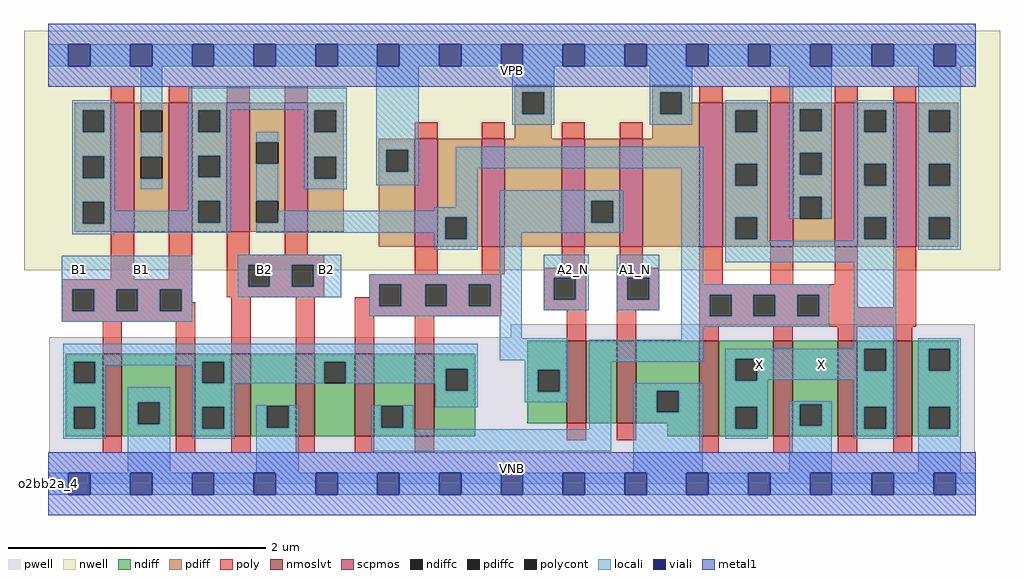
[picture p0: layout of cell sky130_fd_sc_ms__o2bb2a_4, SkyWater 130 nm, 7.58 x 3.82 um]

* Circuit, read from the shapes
.subckt sky130_fd_sc_ms__o2bb2a_4 A1_N A2_N B1 B2 VGND VNB VPB VPWR X
XM1 VGND B1 n1 VNB sky130_fd_pr__nfet_01v8_lvt w=0.64 l=0.15 m=2
XM2 VGND B2 n1 VNB sky130_fd_pr__nfet_01v8_lvt w=0.64 l=0.15 m=2
XM3 n2 n3 n1 VNB sky130_fd_pr__nfet_01v8_lvt w=0.64 l=0.15 m=2
XM4 n4 A2_N n3 VNB sky130_fd_pr__nfet_01v8_lvt w=0.64 l=0.15
XM5 VGND A1_N n4 VNB sky130_fd_pr__nfet_01v8_lvt w=0.64 l=0.15
XM6 X n2 VGND VNB sky130_fd_pr__nfet_01v8_lvt w=0.74 l=0.15 m=4
XM7 VPWR B1 n5 VPB sky130_fd_pr__pfet_01v8 w=1 l=0.18 m=2
XM8 n2 B2 n5 VPB sky130_fd_pr__pfet_01v8 w=1 l=0.18 m=2
XM9 n2 n3 VPWR VPB sky130_fd_pr__pfet_01v8 w=0.84 l=0.18 m=2
XM10 n3 A2_N VPWR VPB sky130_fd_pr__pfet_01v8 w=0.84 l=0.18
XM11 VPWR A1_N n3 VPB sky130_fd_pr__pfet_01v8 w=0.84 l=0.18
XM12 X n2 VPWR VPB sky130_fd_pr__pfet_01v8 w=1.12 l=0.18 m=4
.ends

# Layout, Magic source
magic
tech sky130A
magscale 1 2
<< nwell >>
rect -38 332 1478 704
<< pwell >>
rect 718 228 1439 248
rect 1 49 1439 228
rect 0 0 1440 49
<< scpmos >>
rect 97 392 133 592
rect 187 392 223 592
rect 277 392 313 592
rect 367 392 403 592
rect 569 368 605 536
rect 673 368 709 536
rect 797 368 833 536
rect 887 368 923 536
rect 1011 368 1047 592
rect 1121 368 1157 592
rect 1221 368 1257 592
rect 1312 368 1348 592
<< nmoslvt >>
rect 84 74 114 202
rect 198 74 228 202
rect 284 74 314 202
rect 384 74 414 202
rect 476 74 506 202
rect 569 74 599 202
rect 805 94 835 222
rect 883 94 913 222
rect 1011 74 1041 222
rect 1126 74 1156 222
rect 1226 74 1256 222
rect 1312 74 1342 222
<< ndiff >>
rect 27 190 84 202
rect 27 156 39 190
rect 73 156 84 190
rect 27 120 84 156
rect 27 86 39 120
rect 73 86 84 120
rect 27 74 84 86
rect 114 127 198 202
rect 114 93 139 127
rect 173 93 198 127
rect 114 74 198 93
rect 228 190 284 202
rect 228 156 239 190
rect 273 156 284 190
rect 228 120 284 156
rect 228 86 239 120
rect 273 86 284 120
rect 228 74 284 86
rect 314 121 384 202
rect 314 87 339 121
rect 373 87 384 121
rect 314 74 384 87
rect 414 190 476 202
rect 414 156 428 190
rect 462 156 476 190
rect 414 74 476 156
rect 506 121 569 202
rect 506 87 517 121
rect 551 87 569 121
rect 506 74 569 87
rect 599 179 663 202
rect 599 145 617 179
rect 651 145 663 179
rect 599 74 663 145
rect 744 177 805 222
rect 744 143 760 177
rect 794 143 805 177
rect 744 94 805 143
rect 835 94 883 222
rect 913 145 1011 222
rect 913 111 945 145
rect 979 111 1011 145
rect 913 94 1011 111
rect 961 74 1011 94
rect 1041 194 1126 222
rect 1041 160 1067 194
rect 1101 160 1126 194
rect 1041 120 1126 160
rect 1041 86 1067 120
rect 1101 86 1126 120
rect 1041 74 1126 86
rect 1156 124 1226 222
rect 1156 90 1167 124
rect 1201 90 1226 124
rect 1156 74 1226 90
rect 1256 210 1312 222
rect 1256 176 1267 210
rect 1301 176 1312 210
rect 1256 120 1312 176
rect 1256 86 1267 120
rect 1301 86 1312 120
rect 1256 74 1312 86
rect 1342 210 1413 222
rect 1342 176 1367 210
rect 1401 176 1413 210
rect 1342 120 1413 176
rect 1342 86 1367 120
rect 1401 86 1413 120
rect 1342 74 1413 86
<< pdiff >>
rect 724 608 782 620
rect 41 580 97 592
rect 41 546 53 580
rect 87 546 97 580
rect 41 509 97 546
rect 41 475 53 509
rect 87 475 97 509
rect 41 438 97 475
rect 41 404 53 438
rect 87 404 97 438
rect 41 392 97 404
rect 133 580 187 592
rect 133 546 143 580
rect 177 546 187 580
rect 133 508 187 546
rect 133 474 143 508
rect 177 474 187 508
rect 133 392 187 474
rect 223 580 277 592
rect 223 546 233 580
rect 267 546 277 580
rect 223 510 277 546
rect 223 476 233 510
rect 267 476 277 510
rect 223 440 277 476
rect 223 406 233 440
rect 267 406 277 440
rect 223 392 277 406
rect 313 531 367 592
rect 313 497 323 531
rect 357 497 367 531
rect 313 440 367 497
rect 313 406 323 440
rect 357 406 367 440
rect 313 392 367 406
rect 403 580 459 592
rect 403 546 413 580
rect 447 546 459 580
rect 724 574 736 608
rect 770 574 782 608
rect 403 508 459 546
rect 724 536 782 574
rect 938 608 996 620
rect 938 574 950 608
rect 984 592 996 608
rect 984 574 1011 592
rect 938 536 1011 574
rect 403 474 413 508
rect 447 474 459 508
rect 403 392 459 474
rect 513 519 569 536
rect 513 485 525 519
rect 559 485 569 519
rect 513 368 569 485
rect 605 414 673 536
rect 605 380 616 414
rect 650 380 673 414
rect 605 368 673 380
rect 709 368 797 536
rect 833 440 887 536
rect 833 406 843 440
rect 877 406 887 440
rect 833 368 887 406
rect 923 368 1011 536
rect 1047 580 1121 592
rect 1047 546 1067 580
rect 1101 546 1121 580
rect 1047 497 1121 546
rect 1047 463 1067 497
rect 1101 463 1121 497
rect 1047 414 1121 463
rect 1047 380 1067 414
rect 1101 380 1121 414
rect 1047 368 1121 380
rect 1157 582 1221 592
rect 1157 548 1167 582
rect 1201 548 1221 582
rect 1157 514 1221 548
rect 1157 480 1167 514
rect 1201 480 1221 514
rect 1157 446 1221 480
rect 1157 412 1167 446
rect 1201 412 1221 446
rect 1157 368 1221 412
rect 1257 580 1312 592
rect 1257 546 1267 580
rect 1301 546 1312 580
rect 1257 497 1312 546
rect 1257 463 1267 497
rect 1301 463 1312 497
rect 1257 414 1312 463
rect 1257 380 1267 414
rect 1301 380 1312 414
rect 1257 368 1312 380
rect 1348 580 1413 592
rect 1348 546 1367 580
rect 1401 546 1413 580
rect 1348 497 1413 546
rect 1348 463 1367 497
rect 1401 463 1413 497
rect 1348 414 1413 463
rect 1348 380 1367 414
rect 1401 380 1413 414
rect 1348 368 1413 380
<< ndiffc >>
rect 39 156 73 190
rect 39 86 73 120
rect 139 93 173 127
rect 239 156 273 190
rect 239 86 273 120
rect 339 87 373 121
rect 428 156 462 190
rect 517 87 551 121
rect 617 145 651 179
rect 760 143 794 177
rect 945 111 979 145
rect 1067 160 1101 194
rect 1067 86 1101 120
rect 1167 90 1201 124
rect 1267 176 1301 210
rect 1267 86 1301 120
rect 1367 176 1401 210
rect 1367 86 1401 120
<< pdiffc >>
rect 53 546 87 580
rect 53 475 87 509
rect 53 404 87 438
rect 143 546 177 580
rect 143 474 177 508
rect 233 546 267 580
rect 233 476 267 510
rect 233 406 267 440
rect 323 497 357 531
rect 323 406 357 440
rect 413 546 447 580
rect 736 574 770 608
rect 950 574 984 608
rect 413 474 447 508
rect 525 485 559 519
rect 616 380 650 414
rect 843 406 877 440
rect 1067 546 1101 580
rect 1067 463 1101 497
rect 1067 380 1101 414
rect 1167 548 1201 582
rect 1167 480 1201 514
rect 1167 412 1201 446
rect 1267 546 1301 580
rect 1267 463 1301 497
rect 1267 380 1301 414
rect 1367 546 1401 580
rect 1367 463 1401 497
rect 1367 380 1401 414
<< poly >>
rect 97 592 133 618
rect 187 592 223 618
rect 277 592 313 618
rect 367 592 403 618
rect 569 536 605 562
rect 673 536 709 562
rect 1011 592 1047 618
rect 1121 592 1157 618
rect 1221 592 1257 618
rect 1312 592 1348 618
rect 797 536 833 562
rect 887 536 923 562
rect 97 318 133 392
rect 187 318 223 392
rect 21 302 223 318
rect 21 268 37 302
rect 71 268 105 302
rect 139 268 173 302
rect 207 282 223 302
rect 277 356 313 392
rect 367 356 403 392
rect 277 340 428 356
rect 277 306 310 340
rect 344 306 378 340
rect 412 306 428 340
rect 569 326 605 368
rect 673 326 709 368
rect 797 336 833 368
rect 887 336 923 368
rect 277 290 428 306
rect 498 310 703 326
rect 498 290 514 310
rect 207 268 228 282
rect 21 252 228 268
rect 84 202 114 252
rect 198 202 228 252
rect 284 202 314 290
rect 384 202 414 290
rect 476 276 514 290
rect 548 276 585 310
rect 619 276 653 310
rect 687 276 703 310
rect 476 260 703 276
rect 769 320 835 336
rect 769 286 785 320
rect 819 286 835 320
rect 769 270 835 286
rect 476 202 506 260
rect 569 202 599 260
rect 805 222 835 270
rect 883 320 949 336
rect 883 286 899 320
rect 933 286 949 320
rect 883 270 949 286
rect 1011 310 1047 368
rect 1121 310 1157 368
rect 1221 310 1257 368
rect 1011 294 1257 310
rect 883 222 913 270
rect 1011 260 1027 294
rect 1061 260 1095 294
rect 1129 260 1163 294
rect 1197 274 1257 294
rect 1312 274 1348 368
rect 1197 260 1348 274
rect 1011 244 1348 260
rect 1011 222 1041 244
rect 1126 222 1156 244
rect 1226 222 1256 244
rect 1312 222 1342 244
rect 84 48 114 74
rect 198 48 228 74
rect 284 48 314 74
rect 384 48 414 74
rect 476 48 506 74
rect 569 48 599 74
rect 805 68 835 94
rect 883 68 913 94
rect 1011 48 1041 74
rect 1126 48 1156 74
rect 1226 48 1256 74
rect 1312 48 1342 74
<< polycont >>
rect 37 268 71 302
rect 105 268 139 302
rect 173 268 207 302
rect 310 306 344 340
rect 378 306 412 340
rect 514 276 548 310
rect 585 276 619 310
rect 653 276 687 310
rect 785 286 819 320
rect 899 286 933 320
rect 1027 260 1061 294
rect 1095 260 1129 294
rect 1163 260 1197 294
<< locali >>
rect 0 649 31 683
rect 65 649 127 683
rect 161 649 223 683
rect 257 649 319 683
rect 353 649 415 683
rect 449 649 511 683
rect 545 649 607 683
rect 641 649 703 683
rect 737 649 799 683
rect 833 649 895 683
rect 929 649 991 683
rect 1025 649 1087 683
rect 1121 649 1183 683
rect 1217 649 1279 683
rect 1313 649 1375 683
rect 1409 649 1440 683
rect 37 580 103 596
rect 37 546 53 580
rect 87 546 103 580
rect 37 509 103 546
rect 37 475 53 509
rect 87 475 103 509
rect 37 438 103 475
rect 143 580 177 649
rect 143 508 177 546
rect 143 458 177 474
rect 217 581 463 615
rect 217 580 283 581
rect 217 546 233 580
rect 267 546 283 580
rect 397 580 463 581
rect 217 510 283 546
rect 217 476 233 510
rect 267 476 283 510
rect 37 404 53 438
rect 87 424 103 438
rect 217 440 283 476
rect 217 424 233 440
rect 87 406 233 424
rect 267 406 283 440
rect 87 404 283 406
rect 37 390 283 404
rect 323 531 357 547
rect 323 440 357 497
rect 397 546 413 580
rect 447 546 463 580
rect 397 508 463 546
rect 397 474 413 508
rect 447 474 463 508
rect 397 458 463 474
rect 509 519 575 649
rect 720 608 786 649
rect 720 574 736 608
rect 770 574 786 608
rect 720 558 786 574
rect 934 608 1000 649
rect 934 574 950 608
rect 984 574 1000 608
rect 934 558 1000 574
rect 1051 580 1117 596
rect 1051 546 1067 580
rect 1101 546 1117 580
rect 509 485 525 519
rect 559 485 575 519
rect 509 464 575 485
rect 633 490 1017 524
rect 633 430 667 490
rect 599 424 667 430
rect 357 414 667 424
rect 357 406 616 414
rect 323 390 616 406
rect 37 388 103 390
rect 599 380 616 390
rect 650 380 667 414
rect 599 364 667 380
rect 701 440 893 456
rect 701 406 843 440
rect 877 406 893 440
rect 701 390 893 406
rect 21 302 223 354
rect 21 268 37 302
rect 71 268 105 302
rect 139 268 173 302
rect 207 268 223 302
rect 294 340 455 356
rect 294 306 310 340
rect 344 306 378 340
rect 412 306 455 340
rect 701 326 735 390
rect 294 290 455 306
rect 498 310 735 326
rect 21 252 223 268
rect 498 276 514 310
rect 548 276 585 310
rect 619 276 653 310
rect 687 276 735 310
rect 498 260 735 276
rect 769 320 839 356
rect 769 286 785 320
rect 819 286 839 320
rect 769 270 839 286
rect 883 320 949 356
rect 883 286 899 320
rect 933 286 949 320
rect 883 270 949 286
rect 983 310 1017 490
rect 1051 497 1117 546
rect 1051 463 1067 497
rect 1101 463 1117 497
rect 1051 414 1117 463
rect 1051 380 1067 414
rect 1101 380 1117 414
rect 1151 582 1217 649
rect 1151 548 1167 582
rect 1201 548 1217 582
rect 1151 514 1217 548
rect 1151 480 1167 514
rect 1201 480 1217 514
rect 1151 446 1217 480
rect 1151 412 1167 446
rect 1201 412 1217 446
rect 1251 580 1317 596
rect 1251 546 1267 580
rect 1301 546 1317 580
rect 1251 497 1317 546
rect 1251 463 1267 497
rect 1301 463 1317 497
rect 1251 414 1317 463
rect 1051 378 1117 380
rect 1251 380 1267 414
rect 1301 380 1317 414
rect 1251 378 1317 380
rect 1051 344 1317 378
rect 1351 580 1417 649
rect 1351 546 1367 580
rect 1401 546 1417 580
rect 1351 497 1417 546
rect 1351 463 1367 497
rect 1401 463 1417 497
rect 1351 414 1417 463
rect 1351 380 1367 414
rect 1401 380 1417 414
rect 1351 364 1417 380
rect 983 294 1213 310
rect 701 226 735 260
rect 983 260 1027 294
rect 1061 260 1095 294
rect 1129 260 1163 294
rect 1197 260 1213 294
rect 983 244 1213 260
rect 23 190 667 218
rect 701 192 806 226
rect 983 224 1017 244
rect 23 156 39 190
rect 73 184 239 190
rect 73 156 89 184
rect 23 120 89 156
rect 223 156 239 184
rect 273 156 428 190
rect 462 179 667 190
rect 462 156 617 179
rect 23 86 39 120
rect 73 86 89 120
rect 23 70 89 86
rect 123 127 189 150
rect 123 93 139 127
rect 173 93 189 127
rect 123 17 189 93
rect 223 120 289 156
rect 601 145 617 156
rect 651 145 667 179
rect 223 86 239 120
rect 273 86 289 120
rect 223 70 289 86
rect 323 121 389 122
rect 323 87 339 121
rect 373 87 389 121
rect 323 17 389 87
rect 501 121 567 122
rect 501 87 517 121
rect 551 87 567 121
rect 601 119 667 145
rect 740 177 806 192
rect 740 143 760 177
rect 794 143 806 177
rect 740 127 806 143
rect 840 190 1017 224
rect 1251 210 1317 344
rect 1051 194 1267 210
rect 501 85 567 87
rect 840 85 874 190
rect 1051 160 1067 194
rect 1101 176 1267 194
rect 1301 176 1317 210
rect 1101 162 1317 176
rect 1101 160 1117 162
rect 501 51 874 85
rect 908 145 1016 156
rect 908 111 945 145
rect 979 111 1016 145
rect 908 17 1016 111
rect 1051 120 1117 160
rect 1051 86 1067 120
rect 1101 86 1117 120
rect 1051 70 1117 86
rect 1151 124 1217 128
rect 1151 90 1167 124
rect 1201 90 1217 124
rect 1151 17 1217 90
rect 1251 120 1317 162
rect 1251 86 1267 120
rect 1301 86 1317 120
rect 1251 70 1317 86
rect 1351 210 1417 226
rect 1351 176 1367 210
rect 1401 176 1417 210
rect 1351 120 1417 176
rect 1351 86 1367 120
rect 1401 86 1417 120
rect 1351 17 1417 86
rect 0 -17 31 17
rect 65 -17 127 17
rect 161 -17 223 17
rect 257 -17 319 17
rect 353 -17 415 17
rect 449 -17 511 17
rect 545 -17 607 17
rect 641 -17 703 17
rect 737 -17 799 17
rect 833 -17 895 17
rect 929 -17 991 17
rect 1025 -17 1087 17
rect 1121 -17 1183 17
rect 1217 -17 1279 17
rect 1313 -17 1375 17
rect 1409 -17 1440 17
<< viali >>
rect 31 649 65 683
rect 127 649 161 683
rect 223 649 257 683
rect 319 649 353 683
rect 415 649 449 683
rect 511 649 545 683
rect 607 649 641 683
rect 703 649 737 683
rect 799 649 833 683
rect 895 649 929 683
rect 991 649 1025 683
rect 1087 649 1121 683
rect 1183 649 1217 683
rect 1279 649 1313 683
rect 1375 649 1409 683
rect 31 -17 65 17
rect 127 -17 161 17
rect 223 -17 257 17
rect 319 -17 353 17
rect 415 -17 449 17
rect 511 -17 545 17
rect 607 -17 641 17
rect 703 -17 737 17
rect 799 -17 833 17
rect 895 -17 929 17
rect 991 -17 1025 17
rect 1087 -17 1121 17
rect 1183 -17 1217 17
rect 1279 -17 1313 17
rect 1375 -17 1409 17
<< metal1 >>
rect 0 683 1440 715
rect 0 649 31 683
rect 65 649 127 683
rect 161 649 223 683
rect 257 649 319 683
rect 353 649 415 683
rect 449 649 511 683
rect 545 649 607 683
rect 641 649 703 683
rect 737 649 799 683
rect 833 649 895 683
rect 929 649 991 683
rect 1025 649 1087 683
rect 1121 649 1183 683
rect 1217 649 1279 683
rect 1313 649 1375 683
rect 1409 649 1440 683
rect 0 617 1440 649
rect 0 17 1440 49
rect 0 -17 31 17
rect 65 -17 127 17
rect 161 -17 223 17
rect 257 -17 319 17
rect 353 -17 415 17
rect 449 -17 511 17
rect 545 -17 607 17
rect 641 -17 703 17
rect 737 -17 799 17
rect 833 -17 895 17
rect 929 -17 991 17
rect 1025 -17 1087 17
rect 1121 -17 1183 17
rect 1217 -17 1279 17
rect 1313 -17 1375 17
rect 1409 -17 1440 17
rect 0 -49 1440 -17
<< labels >>
flabel pwell s 0 0 1440 49 0 FreeSans 200 0 0 0 VNB
port 6 nsew ground bidirectional
flabel nwell s 0 617 1440 666 0 FreeSans 200 0 0 0 VPB
port 7 nsew power bidirectional
rlabel comment s 0 0 0 0 4 o2bb2a_4
flabel metal1 s 0 617 1440 666 0 FreeSans 340 0 0 0 VPWR
port 8 nsew power bidirectional
flabel metal1 s 0 0 1440 49 0 FreeSans 340 0 0 0 VGND
port 5 nsew ground bidirectional
flabel locali s 1087 168 1121 202 0 FreeSans 340 0 0 0 X
port 9 nsew signal output
flabel locali s 1183 168 1217 202 0 FreeSans 340 0 0 0 X
port 9 nsew signal output
flabel locali s 319 316 353 350 0 FreeSans 340 0 0 0 B2
port 4 nsew signal input
flabel locali s 415 316 449 350 0 FreeSans 340 0 0 0 B2
port 4 nsew signal input
flabel locali s 31 316 65 350 0 FreeSans 340 0 0 0 B1
port 3 nsew signal input
flabel locali s 127 316 161 350 0 FreeSans 340 0 0 0 B1
port 3 nsew signal input
flabel locali s 799 316 833 350 0 FreeSans 340 0 0 0 A2_N
port 2 nsew signal input
flabel locali s 895 316 929 350 0 FreeSans 340 0 0 0 A1_N
port 1 nsew signal input
<< properties >>
string LEFsite unit
string LEFclass CORE
string FIXED_BBOX 0 0 1440 666
string GDS_FILE $PDKPATH/libs.ref/sky130_fd_sc_ms/gds/sky130_fd_sc_ms.gds
string LEFsymmetry X Y
string GDS_END 1657980
string GDS_START 1646954
<< end >>
